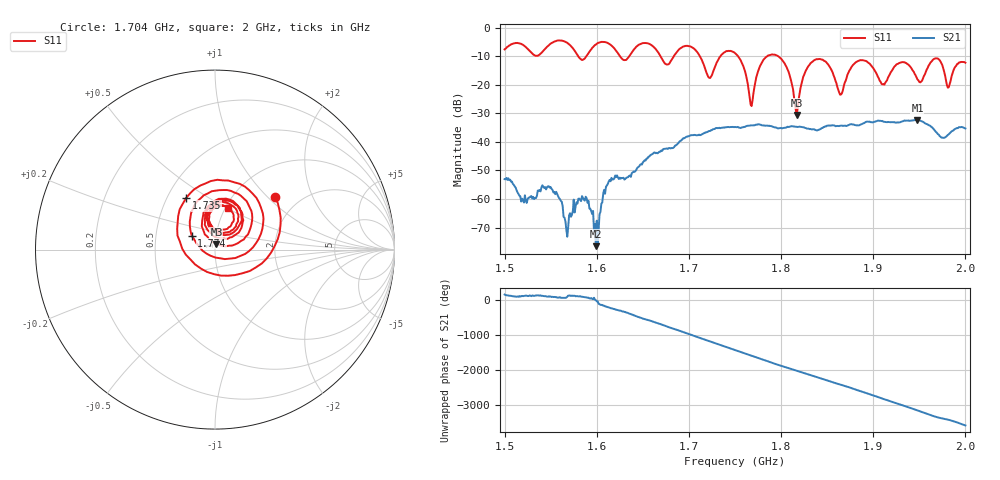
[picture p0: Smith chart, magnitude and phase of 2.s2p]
! NanoVNA-App by SYSJOINT et al v1.1.209 (+OD18)
! Date: 2026-01-21 14:44:10
! Start: 1,5GHz Stop: 2GHz Points: 501
! S-Parameter data: F S11 S21 S12 S22
# Hz S RI R 50
!  Frequency  S11_Real  S11_Imag  S21_Real  S21_Imag  S12_Real  S12_Imag  S22_Real  S22_Imag
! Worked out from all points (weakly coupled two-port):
!   501 points, 1.5 GHz to 2 GHz, reference 50 ohm
!   highest |S21| = -32.28 dB at 1.948 GHz (marker M1); lowest = -76.5 dB at 1.599 GHz (marker M2)
!   lowest |S11| = -30.6 dB at 1.817 GHz (marker M3), VSWR 1.06, Z = 50.7 + j2.9 ohm
!   |S11| at or under -10 dB: 1.712 GHz to 1.734 GHz (22.45 MHz wide, 1.3 % of centre); 1.753 GHz to 1.785 GHz (31.85 MHz wide, 1.8 % of centre); 1.797 GHz to end of sweep (the widest 3 of 6)
!   S12 and S22 are empty: the file has one direction only
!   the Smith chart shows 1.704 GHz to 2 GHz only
!   S11 on the Smith chart (normalised r, x): 1.704 GHz: 1.51, +1.11; 1.735 GHz: 0.62, +0.40; 1.774 GHz: 0.76, +0.12; 2 GHz: 1.03, +0.51
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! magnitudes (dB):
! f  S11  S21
! 1.5 GHz  -7.6  -53.0
! 1.519 GHz  -5.9  -59.9
! 1.549 GHz  -5.8  -56.0
! 1.567 GHz  -5.2  -70.8
! 1.584 GHz  -11.3  -59.0
! 1.599 GHz  -5.9  -76.5
! 1.614 GHz  -5.8  -53.3
! 1.667 GHz  -8.8  -43.7
! 1.704 GHz  -7.0  -37.6
! 1.722 GHz  -17.6  -36.2
! 1.735 GHz  -9.6  -35.1
! 1.75 GHz  -8.9  -34.8
! 1.767 GHz  -27.0  -34.3
! 1.774 GHz  -16.4  -34.0
! 1.798 GHz  -10.3  -35.2
! 1.817 GHz  -30.6  -34.7
! 1.834 GHz  -11.9  -35.6
! 1.864 GHz  -23.5  -34.4
! 1.884 GHz  -11.7  -34.2
! 1.917 GHz  -16.9  -33.1
! 1.948 GHz  -18.1  -32.3
! 2 GHz  -12.3  -35.3
